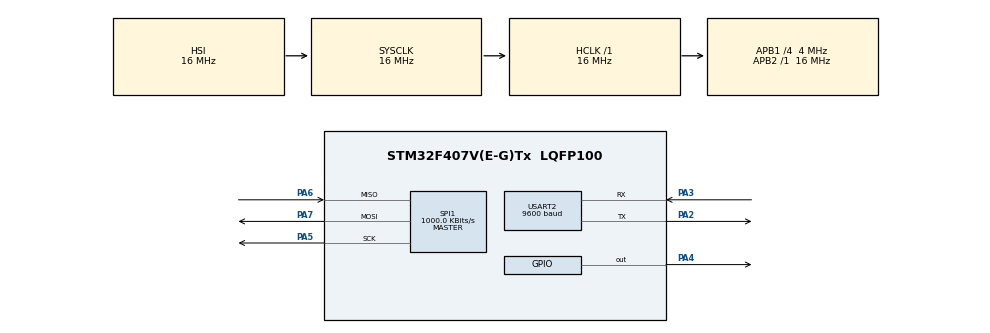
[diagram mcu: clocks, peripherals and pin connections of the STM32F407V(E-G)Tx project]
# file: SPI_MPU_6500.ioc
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Mcu.Family=STM32F4
Mcu.Name=STM32F407V(E-G)Tx
Mcu.Package=LQFP100
NVIC.PriorityGroup=NVIC_PRIORITYGROUP_0
PA2.Mode=Asynchronous
PA2.Signal=USART2_TX
PA3.Mode=Asynchronous
PA3.Signal=USART2_RX
PA4.Signal=GPIO_Output
PA5.Mode=Full_Duplex_Master
PA5.Signal=SPI1_SCK
PA6.Mode=Full_Duplex_Master
PA6.Signal=SPI1_MISO
PA7.Mode=Full_Duplex_Master
PA7.Signal=SPI1_MOSI
ProjectManager.HeapSize=0x200
ProjectManager.StackSize=0x400
ProjectManager.TargetToolchain=STM32CubeIDE
RCC.48MHZClocksFreq_Value=14285714.285714285
RCC.AHBFreq_Value=16000000
RCC.APB1CLKDivider=RCC_HCLK_DIV4
RCC.APB1Freq_Value=4000000
RCC.APB1TimFreq_Value=8000000
RCC.APB2Freq_Value=16000000
RCC.APB2TimFreq_Value=16000000
RCC.CortexFreq_Value=16000000
RCC.HCLKFreq_Value=16000000
RCC.HSE_VALUE=8000000
RCC.HSI_VALUE=16000000
RCC.LSE_VALUE=32768
RCC.PLLM=8
RCC.PLLN=50
RCC.PLLQ=7
RCC.SYSCLKFreq_VALUE=16000000
RCC.VCOOutputFreq_Value=100000000
SPI1.BaudRatePrescaler=SPI_BAUDRATEPRESCALER_16
SPI1.CLKPhase=SPI_PHASE_2EDGE
SPI1.CLKPolarity=SPI_POLARITY_HIGH
SPI1.CalculateBaudRate=1000.0 KBits/s
SPI1.Direction=SPI_DIRECTION_2LINES
SPI1.Mode=SPI_MODE_MASTER
SPI1.VirtualType=VM_MASTER
USART2.BaudRate=9600
USART2.VirtualMode=VM_ASYNC
board=STM32F407G-DISC1

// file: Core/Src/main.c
/* USER CODE BEGIN Header */
/**
  ******************************************************************************
  * @file           : main.c
  * @brief          : Main program body
  ******************************************************************************
  * @attention
  *
  * Copyright (c) 2026 STMicroelectronics.
  * All rights reserved.
  *
  * This software is licensed under terms that can be found in the LICENSE file
  * in the root directory of this software component.
  * If no LICENSE file comes with this software, it is provided AS-IS.
  *
  ******************************************************************************
  */
/* USER CODE END Header */
#include "main.h"
#include <stdio.h>
#include <string.h>
/* USER CODE BEGIN Includes */
#define MPU_6500_ADDR (0x68 << 1)
int16_t temp;
float ftemp;
#define WHO_AM_I 0x75
#define PWR_MGMT_1 0x6B
#define TEMP_START 0x41

/* USER CODE END Includes */

SPI_HandleTypeDef hspi1;

UART_HandleTypeDef huart2;

/* USER CODE BEGIN PV */
uint8_t tempBuffer[2];

uint8_t check_id = 0;
uint8_t wake_cmd = 0x00;

char uartBuffer[20];
/* USER CODE END PV */

void SystemClock_Config(void);
static void MX_GPIO_Init(void);
static void MX_SPI1_Init(void);
static void MX_USART2_UART_Init(void);

/* USER CODE BEGIN 0 */
void MPU_6500_Init(void) {

    HAL_GPIO_WritePin(GPIOA, GPIO_PIN_4, GPIO_PIN_RESET);

    uint8_t add = WHO_AM_I | 0x80;

    HAL_SPI_Transmit(&hspi1, &add, 1, 100);
    HAL_SPI_Receive(&hspi1, &check_id, 1, 100);

    HAL_GPIO_WritePin(GPIOA, GPIO_PIN_4, GPIO_PIN_SET);

    if (check_id == 0x70) {
    	uint8_t tx_data[2];
    	tx_data[0] = (PWR_MGMT_1 & 0x7F);
    	tx_data[1] = wake_cmd;

        HAL_GPIO_WritePin(GPIOA, GPIO_PIN_4, GPIO_PIN_RESET);

        HAL_SPI_Transmit(&hspi1, tx_data, 2, 100);

        HAL_GPIO_WritePin(GPIOA, GPIO_PIN_4, GPIO_PIN_SET);

    }

}

void read_mpu_temp(){
	uint8_t read_add = TEMP_START | 0x80;

	HAL_GPIO_WritePin(GPIOA, GPIO_PIN_4, GPIO_PIN_RESET);

	HAL_SPI_Transmit(&hspi1, &read_add, 1, 100);
	HAL_SPI_Receive(&hspi1, tempBuffer, 2, 100);

    HAL_GPIO_WritePin(GPIOA, GPIO_PIN_4, GPIO_PIN_SET);

  	temp = (int16_t)(tempBuffer[0] << 8) | tempBuffer[1];

    ftemp = (temp / 333.87f) + 21.0f;

    snprintf(uartBuffer, sizeof(uartBuffer), "Temp: %.2f°\r\n", ftemp);
    HAL_UART_Transmit(&huart2, uartBuffer, strlen(uartBuffer), 300);
    HAL_UART_Transmit(&huart2, (uint8_t *)"\r\n", 2, 100);

    HAL_Delay(2000);
}
/*
void check_sf(){
	uint8_t gyro_config = GYRO_CFG | 0x80;
	uint8_t sf = 0;

	HAL_GPIO_WritePin(GPIOA, GPIO_PIN_4, GPIO_PIN_RESET);

	HAL_SPI_Transmit(&hspi1, &gyro_config, 1, 100);
	HAL_SPI_Receive(&hspi1, &sf, 1, 100);

    HAL_GPIO_WritePin(GPIOA, GPIO_PIN_4, GPIO_PIN_SET);

	sf = ((sf & (3U << 3)) >> 3);
}
*/
/* USER CODE END 0 */

int main(void)
{

  /* MCU Configuration--------------------------------------------------------*/

  /* Reset of all peripherals, Initializes the Flash interface and the Systick. */
  HAL_Init();

  /* Configure the system clock */
  SystemClock_Config();

  /* Initialize all configured peripherals */
  MX_GPIO_Init();
  MX_SPI1_Init();
  MX_USART2_UART_Init();
  /* USER CODE BEGIN 2 */
  /*
  HAL_GPIO_WritePin(GPIOA, GPIO_PIN_4, GPIO_PIN_RESET);

  HAL_SPI_Receive(&hspi1, gyroBuffer, 1, 100);

  HAL_GPIO_WritePin(GPIOA, GPIO_PIN_4, GPIO_PIN_SET);
  */
  MPU_6500_Init();

  //check_sf();
  /* USER CODE END 2 */

  /* Infinite loop */
  /* USER CODE BEGIN WHILE */
  while (1)
  {
	  read_mpu_temp();
    /* USER CODE END WHILE */

  }
}

void SystemClock_Config(void)
{
  RCC_OscInitTypeDef RCC_OscInitStruct = {0};
  RCC_ClkInitTypeDef RCC_ClkInitStruct = {0};

  /** Configure the main internal regulator output voltage
  */
  __HAL_RCC_PWR_CLK_ENABLE();
  __HAL_PWR_VOLTAGESCALING_CONFIG(PWR_REGULATOR_VOLTAGE_SCALE1);

  /** Initializes the RCC Oscillators according to the specified parameters
  * in the RCC_OscInitTypeDef structure.
  */
  RCC_OscInitStruct.OscillatorType = RCC_OSCILLATORTYPE_HSI;
  RCC_OscInitStruct.HSIState = RCC_HSI_ON;
  RCC_OscInitStruct.HSICalibrationValue = RCC_HSICALIBRATION_DEFAULT;
  RCC_OscInitStruct.PLL.PLLState = RCC_PLL_NONE;
  if (HAL_RCC_OscConfig(&RCC_OscInitStruct) != HAL_OK)
  {
    Error_Handler();
  }

  /** Initializes the CPU, AHB and APB buses clocks
  */
  RCC_ClkInitStruct.ClockType = RCC_CLOCKTYPE_HCLK|RCC_CLOCKTYPE_SYSCLK
                              |RCC_CLOCKTYPE_PCLK1|RCC_CLOCKTYPE_PCLK2;
  RCC_ClkInitStruct.SYSCLKSource = RCC_SYSCLKSOURCE_HSI;
  RCC_ClkInitStruct.AHBCLKDivider = RCC_SYSCLK_DIV1;
  RCC_ClkInitStruct.APB1CLKDivider = RCC_HCLK_DIV4;
  RCC_ClkInitStruct.APB2CLKDivider = RCC_HCLK_DIV1;

  if (HAL_RCC_ClockConfig(&RCC_ClkInitStruct, FLASH_LATENCY_0) != HAL_OK)
  {
    Error_Handler();
  }
}

static void MX_SPI1_Init(void)
{

  /* SPI1 parameter configuration*/
  hspi1.Instance = SPI1;
  hspi1.Init.Mode = SPI_MODE_MASTER;
  hspi1.Init.Direction = SPI_DIRECTION_2LINES;
  hspi1.Init.DataSize = SPI_DATASIZE_8BIT;
  hspi1.Init.CLKPolarity = SPI_POLARITY_HIGH;
  hspi1.Init.CLKPhase = SPI_PHASE_2EDGE;
  hspi1.Init.NSS = SPI_NSS_SOFT;
  hspi1.Init.BaudRatePrescaler = SPI_BAUDRATEPRESCALER_16;
  hspi1.Init.FirstBit = SPI_FIRSTBIT_MSB;
  hspi1.Init.TIMode = SPI_TIMODE_DISABLE;
  hspi1.Init.CRCCalculation = SPI_CRCCALCULATION_DISABLE;
  hspi1.Init.CRCPolynomial = 10;
  if (HAL_SPI_Init(&hspi1) != HAL_OK)
  {
    Error_Handler();
  }

}

static void MX_USART2_UART_Init(void)
{

  huart2.Instance = USART2;
  huart2.Init.BaudRate = 9600;
  huart2.Init.WordLength = UART_WORDLENGTH_8B;
  huart2.Init.StopBits = UART_STOPBITS_1;
  huart2.Init.Parity = UART_PARITY_NONE;
  huart2.Init.Mode = UART_MODE_TX_RX;
  huart2.Init.HwFlowCtl = UART_HWCONTROL_NONE;
  huart2.Init.OverSampling = UART_OVERSAMPLING_16;
  if (HAL_UART_Init(&huart2) != HAL_OK)
  {
    Error_Handler();
  }

}

static void MX_GPIO_Init(void)
{
  GPIO_InitTypeDef GPIO_InitStruct = {0};

  /* GPIO Ports Clock Enable */
  __HAL_RCC_GPIOA_CLK_ENABLE();

  /*Configure GPIO pin Output Level */
  HAL_GPIO_WritePin(GPIOA, GPIO_PIN_4, GPIO_PIN_RESET);

  /*Configure GPIO pin : PA4 */
  GPIO_InitStruct.Pin = GPIO_PIN_4;
  GPIO_InitStruct.Mode = GPIO_MODE_OUTPUT_PP;
  GPIO_InitStruct.Pull = GPIO_NOPULL;
  GPIO_InitStruct.Speed = GPIO_SPEED_FREQ_LOW;
  HAL_GPIO_Init(GPIOA, &GPIO_InitStruct);

}

void Error_Handler(void)
{
  __disable_irq();
  while (1)
  {
  }
}
